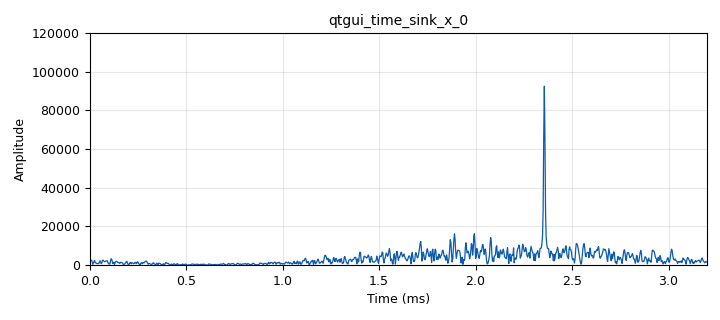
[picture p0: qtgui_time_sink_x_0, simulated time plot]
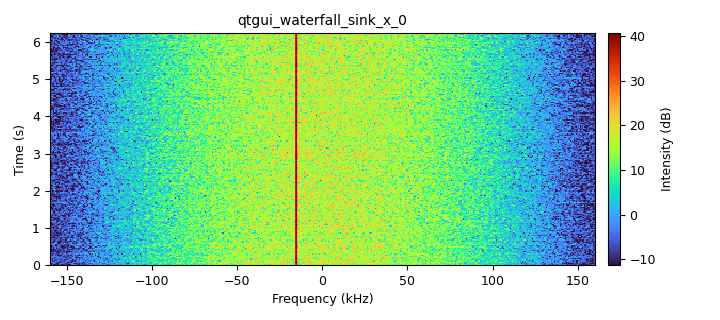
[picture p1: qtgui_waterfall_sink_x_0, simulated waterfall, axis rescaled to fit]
options:
  parameters:
    generate_options: qt_gui
    id: ex4_01
    output_language: python
    title: Figure 4.2 Cross-correlation between a signal and its time-delayed copy
  states: {}

blocks:
- name: D
  id: variable_qtgui_range
  parameters:
    start: '0'
    step: '1'
    stop: '100'
    value: '50'
  states: {}
- name: N
  id: variable
  parameters:
    value: '1024'
  states: {}
- name: samp_rate
  id: variable
  parameters:
    value: '320000'
  states: {}
- name: analog_noise_source_x_0
  id: analog_noise_source_x
  parameters:
    amp: '1'
    comment: Broadband signal source
    noise_type: analog.GR_GAUSSIAN
    seed: '0'
    type: complex
  states: {}
- name: blocks_complex_to_mag_0
  id: blocks_complex_to_mag
  parameters:
    vlen: N
  states: {}
- name: blocks_delay_1
  id: blocks_delay
  parameters:
    comment: Delay
    delay: int(D)
    type: complex
  states: {}
- name: blocks_multiply_conjugate_cc_0
  id: blocks_multiply_conjugate_cc
  parameters:
    vlen: N
  states: {}
- name: blocks_stream_to_vector_0
  id: blocks_stream_to_vector
  parameters:
    num_items: N
    type: complex
  states: {}
- name: blocks_stream_to_vector_0_0
  id: blocks_stream_to_vector
  parameters:
    num_items: N
    type: complex
  states: {}
- name: blocks_throttle2_0
  id: blocks_throttle2
  parameters:
    samples_per_second: samp_rate
    type: complex
  states: {}
- name: blocks_vector_to_stream_0
  id: blocks_vector_to_stream
  parameters:
    num_items: N
    type: complex
  states: {}
- name: blocks_vector_to_stream_1
  id: blocks_vector_to_stream
  parameters:
    num_items: N
    type: float
  states: {}
- name: fft_vxx_0
  id: fft_vxx
  parameters:
    fft_size: '1024'
    forward: 'False'
    shift: 'True'
    type: complex
    window: window.blackmanharris(1024)
  states: {}
- name: fft_vxx_0_0
  id: fft_vxx
  parameters:
    fft_size: '1024'
    forward: 'False'
    shift: 'True'
    type: complex
    window: window.blackmanharris(1024)
  states: {}
- name: fft_vxx_0_0_0
  id: fft_vxx
  parameters:
    fft_size: '1024'
    forward: 'False'
    shift: 'True'
    type: complex
    window: window.blackmanharris(1024)
  states: {}
- name: qtgui_time_sink_x_0
  id: qtgui_time_sink_x
  parameters:
    size: N
    srate: samp_rate
    type: float
    ymax: '120000'
  states: {}
- name: qtgui_waterfall_sink_x_0
  id: qtgui_waterfall_sink_x
  parameters:
    bw: samp_rate
    fc: '0'
    fftsize: N
    type: complex
  states: {}

connections:
- [analog_noise_source_x_0, '0', blocks_throttle2_0, '0']
- [blocks_complex_to_mag_0, '0', blocks_vector_to_stream_1, '0']
- [blocks_delay_1, '0', blocks_stream_to_vector_0_0, '0']
- [blocks_multiply_conjugate_cc_0, '0', blocks_vector_to_stream_0, '0']
- [blocks_multiply_conjugate_cc_0, '0', fft_vxx_0_0_0, '0']
- [blocks_stream_to_vector_0, '0', fft_vxx_0, '0']
- [blocks_stream_to_vector_0_0, '0', fft_vxx_0_0, '0']
- [blocks_throttle2_0, '0', blocks_delay_1, '0']
- [blocks_throttle2_0, '0', blocks_stream_to_vector_0, '0']
- [blocks_vector_to_stream_0, '0', qtgui_waterfall_sink_x_0, '0']
- [blocks_vector_to_stream_1, '0', qtgui_time_sink_x_0, '0']
- [fft_vxx_0, '0', blocks_multiply_conjugate_cc_0, '0']
- [fft_vxx_0_0, '0', blocks_multiply_conjugate_cc_0, '1']
- [fft_vxx_0_0_0, '0', blocks_complex_to_mag_0, '0']

metadata:
  file_format: 1
  grc_version: 3.10.9.2
